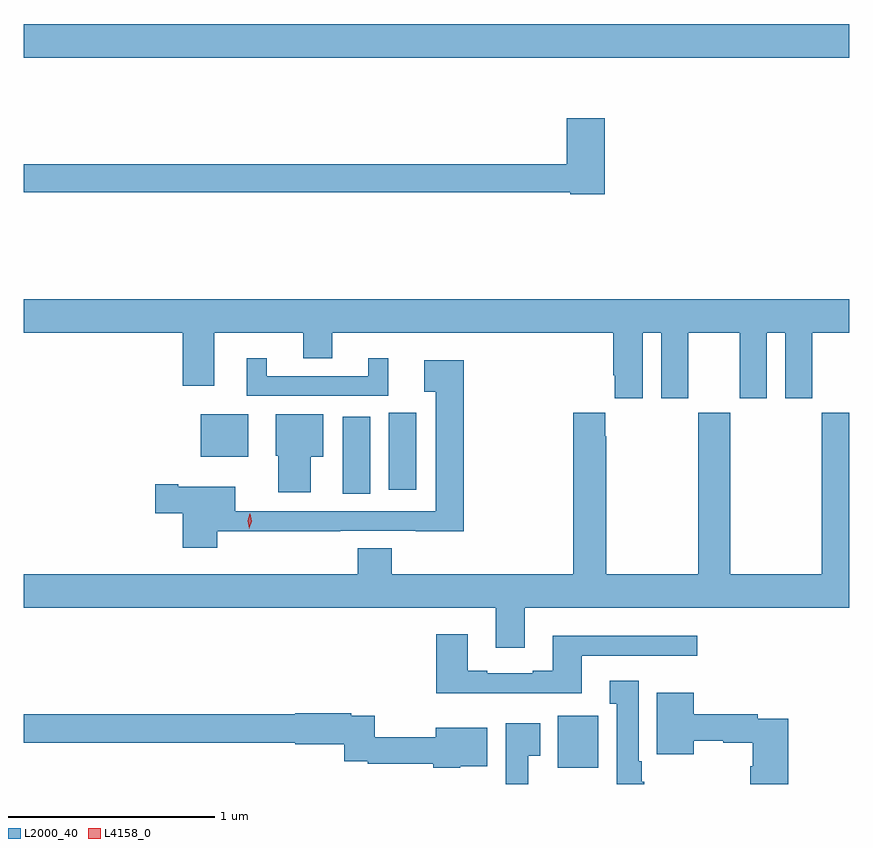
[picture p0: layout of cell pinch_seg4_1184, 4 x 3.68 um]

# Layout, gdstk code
import gdstk
lib = gdstk.Library(unit=1e-6, precision=1e-09)
def R(c, l, rs):  # rectangles x0, y0, x1, y1
    for r in rs: c.add(gdstk.rectangle(r[:2], r[2:], *l))
def P(c, l, *ps):  # polygons
    for p in ps: c.add(gdstk.Polygon(p, *l))
L2000_40 = (2000, 40)
L4158_0 = (4158, 0)

pinch_seg4_1184 = lib.new_cell('pinch_seg4_1184')
R(pinch_seg4_1184, L2000_40, [(637.037,761.414,637.233,761.665), (635.996,762.742,636.13,763.114), (636.218,762.759,636.352,763.134), (635.309,762.92,635.539,763.126), (634.45,764.852,638.45,765.016)])
P(pinch_seg4_1184, L2000_40, [(637.265,764.56),(637.082,764.56),(637.082,764.336),(634.45,764.336),(634.45,764.2),(637.098,764.2),(637.098,764.192),(637.265,764.192)],
  [(637.45,763.52),(637.538,763.52),(637.538,763.203),(637.669,763.203),(637.669,763.52),(637.919,763.52),(637.919,763.203),(638.05,763.203),(638.05,763.52),(638.138,763.52),(638.138,763.203),(638.269,763.203),(638.269,763.52),(638.45,763.52),(638.45,763.684),(634.45,763.684),(634.45,763.52),(635.222,763.52),(635.222,763.263),(635.374,763.263),(635.374,763.52),(635.804,763.52),(635.804,763.396),(635.944,763.396),(635.944,763.52),(637.307,763.52),(637.307,763.315),(637.313,763.315),(637.313,763.203),(637.45,763.203)],
  [(636.217,763.396),(636.119,763.396),(636.119,763.311),(635.629,763.311),(635.629,763.396),(635.531,763.396),(635.531,763.215),(636.217,763.215)],
  [(635.387,762.56),(635.984,762.56),(635.984,762.561),(636.35,762.561),(636.35,762.56),(636.581,762.56),(636.581,763.387),(636.39,763.387),(636.39,763.235),(636.446,763.235),(636.446,762.657),(635.476,762.657),(635.476,762.775),(635.2,762.775),(635.2,762.788),(635.088,762.788),(635.088,762.646),(635.222,762.646),(635.222,762.48),(635.387,762.48)],
  [(636.877,762.188),(638.45,762.188),(638.45,763.132),(638.317,763.132),(638.317,762.352),(637.872,762.352),(637.872,763.132),(637.717,763.132),(637.717,762.352),(637.272,762.352),(637.272,763.019),(637.267,763.019),(637.267,763.132),(637.112,763.132),(637.112,762.352),(636.233,762.352),(636.233,762.476),(636.068,762.476),(636.068,762.352),(634.45,762.352),(634.45,762.188),(636.737,762.188),(636.737,761.994),(636.877,761.994)],
  [(635.842,762.92),(635.902,762.92),(635.902,763.126),(635.672,763.126),(635.672,762.924),(635.684,762.924),(635.684,762.747),(635.842,762.747)],
  [(637.153,761.955),(637.714,761.955),(637.714,762.052),(637.013,762.052),(637.013,761.884),(636.917,761.884),(636.917,761.871),(636.697,761.871),(636.697,761.884),(636.601,761.884),(636.601,762.061),(636.449,762.061),(636.449,761.774),(637.153,761.774)],
  [(637.456,761.346),(637.444,761.346),(637.444,761.446),(637.429,761.446),(637.429,761.836),(637.289,761.836),(637.289,761.723),(637.322,761.723),(637.322,761.335),(637.456,761.335)],
  [(638.153,761.652),(638.006,761.652),(638.006,761.672),(637.696,761.672),(637.696,761.776),(637.517,761.776),(637.517,761.48),(637.696,761.48),(637.696,761.544),(637.839,761.544),(637.839,761.536),(637.982,761.536),(637.982,761.421),(637.97,761.421),(637.97,761.335),(638.153,761.335)],
  [(636.564,761.42),(636.697,761.42),(636.697,761.608),(636.446,761.608),(636.446,761.561),(636.15,761.561),(636.15,761.665),(636.038,761.665),(636.038,761.678),(635.766,761.678),(635.766,761.672),(634.45,761.672),(634.45,761.536),(635.766,761.536),(635.766,761.528),(636.002,761.528),(636.002,761.445),(636.118,761.445),(636.118,761.433),(636.434,761.433),(636.434,761.414),(636.564,761.414)],
  [(636.895,761.473),(636.952,761.473),(636.952,761.629),(636.785,761.629),(636.785,761.335),(636.895,761.335)])
P(pinch_seg4_1184, L4158_0, [(635.543,762.572),(635.543,762.573),(635.535,762.609),(635.546,762.644),(635.547,762.644),(635.547,762.644),(635.555,762.608),(635.544,762.573)])

lib.write_gds('pinch_seg4_1184.gds')
